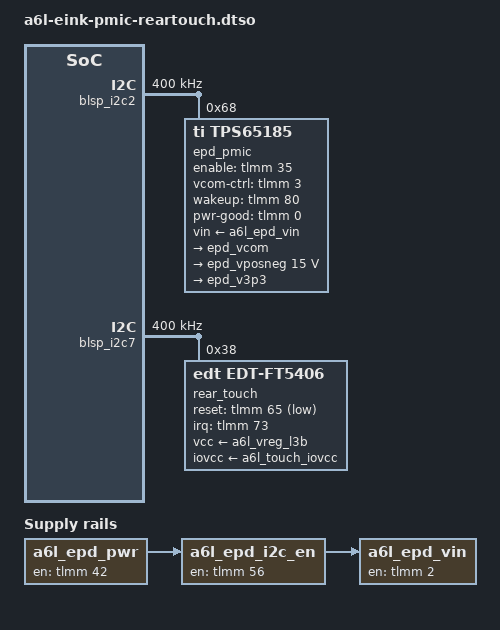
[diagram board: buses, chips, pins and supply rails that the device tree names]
// SPDX-License-Identifier: GPL-2.0-only
// OFFLINE CANDIDATE "E1", never booted, NOT part of the V68 image.
// (a) TI TPS65185 e-paper PMIC — upstream driver drivers/regulator/tps65185.c exists in the pinned 7.2 tree
//     (needs CONFIG_REGULATOR_TPS65185=m; built as an external module for the V67 kernel).
//     Stock: i2c@c176000 (blsp_i2c2) addr 0x68; TLMM gpios: pm-pwrup=35, pm-pwrcom=3, pm-power-en=2,
//     pm-wake-up=80, pm-state=0; all pull-down, 2 mA.
//     GPIO roles VERIFIED against the stock driver disassembly (stock-symbolized.elf, 20 Sep 2026):
//       tps65185_power_on(x): pdata+8 (pm-power-en, gpio2) = x            -> external VIN switch (fixed regulator)
//       tps65185_active_mode: pdata+0xc (pm-wake-up, gpio80)=1, 2 ms, I2C setup, pdata+0 (pm-pwrup, gpio35)=1,
//                             5 ms, wait/temperature read, 20 ms, pdata+4 (pm-pwrcom, gpio3)=1 -> WAKEUP, PWRUP, VCOM_CTRL
//       tps65185_sleep_mode:  pwrcom=0, wake-up=0, 100 ms, pwrup=0;   pm-state (gpio0) is only read -> PWR_GOOD
//     With no consumer the rails stay off: probing only talks I2C (revision, temperature, VCOM register).
// (b) Rear (e-ink side) touch: FocalTech "5x06" at i2c@c1b7000 (blsp_i2c7) addr 0x38, irq gpio73 falling,
//     reset gpio65, 720x1440, 5 touches, supplies pm660l L3 (vdd) and pm660 L11 (i2c pull-ups, already
//     described for the front touch). Upstream edt-ft5x06 is built (=m).
/dts-v1/;
/plugin/;
&tlmm {
    a6l_tps65185_default: a6l-tps65185-default-state {
        pins = "gpio0", "gpio2", "gpio3", "gpio35", "gpio80";   /* gpio42/56 are driven by fixed regulators below */
        function = "gpio";
        drive-strength = <2>;
        bias-pull-down;
    };
    a6l_rear_touch_default: a6l-rear-touch-default-state {
        pins = "gpio65", "gpio73";
        function = "gpio";
        drive-strength = <2>;
        bias-pull-up;
    };
};
&blsp_i2c2 {
    status = "okay";
    clock-frequency = <400000>;
    epd_pmic: pmic@68 {
        compatible = "ti,tps65185";
        reg = <0x68>;
        pinctrl-names = "default";
        pinctrl-0 = <&a6l_tps65185_default>;
        enable-gpios = <&tlmm 35 0>;
        vcom-ctrl-gpios = <&tlmm 3 0>;
        wakeup-gpios = <&tlmm 80 0>;
        pwr-good-gpios = <&tlmm 0 0>;
        vin-supply = <&a6l_epd_vin>;
        regulators {
            epd_vcom: vcom { regulator-name = "epd-vcom"; };
            epd_vposneg: vposneg { regulator-name = "epd-vposneg"; regulator-min-microvolt = <15000000>; regulator-max-microvolt = <15000000>; };
            epd_v3p3: v3p3 { regulator-name = "epd-v3p3"; };
        };
    };
};
&blsp_i2c7 {
    status = "okay";
    clock-frequency = <400000>;
    rear_touch: touchscreen@38 {
        compatible = "edt,edt-ft5406";
        reg = <0x38>;
        pinctrl-names = "default";
        pinctrl-0 = <&a6l_rear_touch_default>;
        interrupts-extended = <&tlmm 73 2>;   /* IRQ_TYPE_EDGE_FALLING */
        reset-gpios = <&tlmm 65 1>;           /* GPIO_ACTIVE_LOW */
        vcc-supply = <&a6l_vreg_l3b>;
        iovcc-supply = <&a6l_touch_iovcc>;
        touchscreen-size-x = <720>;
        touchscreen-size-y = <1440>;
    };
};
/ {
    fragment@50 {
        target-path = "/";
        __overlay__ {
            a6l_epd_vin: regulator-epd-vin {
                compatible = "regulator-fixed";
                regulator-name = "epd-pmic-vin";
                gpio = <&tlmm 2 0>;
                enable-active-high;
                vin-supply = <&a6l_epd_i2c_en>;
            };
            // HARDWARE FINDING 21 Sep 2026: the TPS65185 NAKs (ENXIO) until TLMM gpio42 (stock "epd_pwr_on") and
            // gpio56 (stock "epd-i2c-en", level shifter) are high. Bring-up choice: always-on, so probing works
            // without a userspace GPIO holder. The PMIC stays in SLEEP (WAKEUP low) so the cost is microamps.
            a6l_epd_pwr: regulator-epd-pwr-on {
                compatible = "regulator-fixed";
                regulator-name = "epd-pwr-on";
                gpio = <&tlmm 42 0>;
                enable-active-high;
                startup-delay-us = <20000>;
                regulator-always-on;
            };
            a6l_epd_i2c_en: regulator-epd-i2c-en {
                compatible = "regulator-fixed";
                regulator-name = "epd-i2c-en";
                gpio = <&tlmm 56 0>;
                enable-active-high;
                startup-delay-us = <20000>;
                vin-supply = <&a6l_epd_pwr>;
                regulator-always-on;
            };
        };
    };
    fragment@51 {
        target-path = "/remoteproc/glink-edge/rpm-requests/regulators-0";   // pm660l ("b")
        __overlay__ {
            // 21 Sep 2026: with the stock 1.71-3.6 V window and no consumer voltage request the rail sat at 1.71 V:
            // enough for the rear touch to answer, but the front STK3338 on the same rail NAKed. Pin it to 3.0 V
            // (inside the stock window and inside both chips' VDD range).
            a6l_vreg_l3b: l3 { regulator-min-microvolt = <3000000>; regulator-max-microvolt = <3000000>; };
        };
    };
    fragment@52 {
        target-path = "/chosen";
        __overlay__ { hisense,a6l-eink-side = "e1"; };
    };
};
